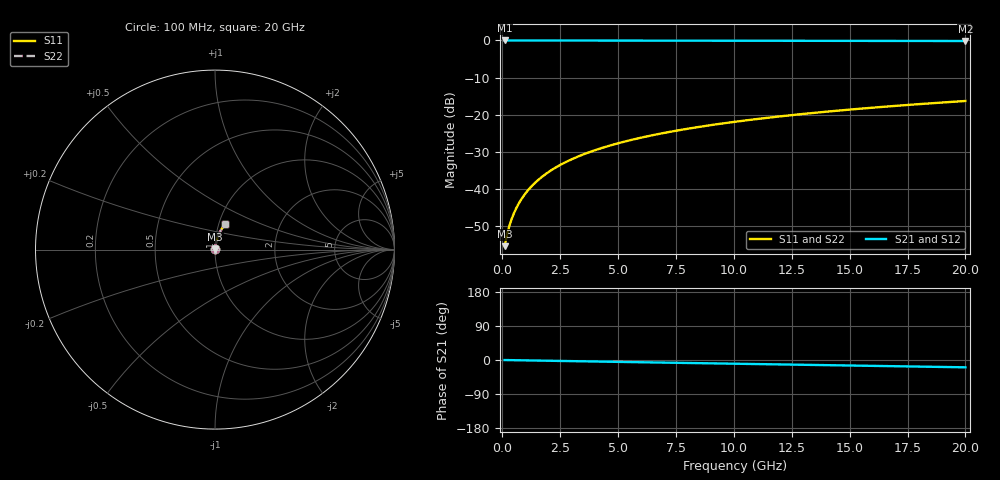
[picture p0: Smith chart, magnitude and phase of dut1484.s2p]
! Touchstone file exported from HFSS 2026.1.0
!  File:  C:/ffzhzh/LocalFiles/Ansys_Project_Files/temp_train_TMRDL_1484_1783167729_22436.aedt
!  Generated:  08:23:24 PM Jul  4, 2026
!  Design:  TMRDL
!  Project:  temp_train_TMRDL_1484_1783167729_22436
! Variables:
!  h_bsmrdl = 2um
!  h_ox = 20um
!  h_rdl = 5um
!  h_sub = 80um
!  h_tmrdl = 4.11um
!  h_tsv = 80um
!  h_via = 3um
!  l_bsmrdl = 300um
!  l_sub = 684.26um
!  l_tmrdl = 284.26um
!  m_sub = 200um
!  pitch = 36.43um
!  r_tsv = 6um
!  s_tmrdl = 10um
!  w_bsmrdl = 18um
!  w_sub = 500um
!  w_tmrdl = 20.4um
!  x_tsv_center1 = 294.46um
!  x_tsv_center2 = 612.46um
!  x_tsv_center3 = 917.12um
!  x_tsv_center4 = 1235.12um
!  x_tsv_center5 = 1539.78um
!  x_tsv_center6 = 1857.78um
# GHz S MA R 50.000000
! Terminal data exported
! Port[1] = TM_RDL1_1_T1
! Port[2] = TM_RDL1_1_T2
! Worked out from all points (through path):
!   200 points, 100 MHz to 20 GHz, reference 50 ohm
!   highest |S21| = -0.01 dB at 100 MHz (marker M1); lowest = -0.2 dB at 20 GHz (marker M2)
!   group delay of S21, straight-line fit = 2.68 ps
!   lowest |S11| = -55.5 dB at 100 MHz (marker M3), VSWR 1.00, Z = 50.1 + j0.0957 ohm
!   |S11| at or under -10 dB: start of sweep to end of sweep
!   |S22| runs from -55.5 to -16.3 dB; largest |S21 - S12| = 2.6e-15
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0.1  0.001684 34.5  0.9986 -0.1  0.9986 -0.1  0.001684 34.5
! Gamma 0 0 0 0
! Port Impedance 50 0 50 0
0.2  0.00237 51.4  0.9985 -0.2  0.9985 -0.2  0.002371 51.4
0.3  0.003124 59.9  0.9984 -0.3  0.9984 -0.3  0.003125 59.9
0.4  0.00389 65.1  0.9984 -0.4  0.9984 -0.4  0.003892 65.1
0.5  0.004666 68.7  0.9983 -0.5  0.9983 -0.5  0.004667 68.7
0.6  0.00545 71.3  0.9983 -0.6  0.9983 -0.6  0.005452 71.3
0.8  0.007043 74.9  0.9982 -0.8  0.9982 -0.8  0.007044 74.9
1.1  0.009471 77.9  0.9981 -1.1  0.9981 -1.1  0.009471 77.9
1.3  0.0111 79.1  0.9981 -1.3  0.9981 -1.3  0.0111 79.1
1.6  0.01356 80.3  0.998 -1.6  0.998 -1.6  0.01356 80.3
2.1  0.01766 81.3  0.9978 -2.1  0.9978 -2.1  0.01766 81.3
2.7  0.02257 81.7  0.9975 -2.7  0.9975 -2.7  0.02257 81.6
3.5  0.02906 81.6  0.9971 -3.5  0.9971 -3.5  0.02906 81.6
4.2  0.03469 81.3  0.9967 -4.2  0.9967 -4.2  0.03469 81.3
5  0.04106 80.8  0.9961 -5.0  0.9961 -5.0  0.04106 80.8
5.9  0.04815 80.1  0.9955 -5.8  0.9955 -5.8  0.04815 80.1
6.8  0.05517 79.4  0.9948 -6.7  0.9948 -6.7  0.05517 79.4
8.3  0.06674 78.2  0.9936 -8.2  0.9936 -8.2  0.06674 78.2
10.1  0.08042 76.8  0.9921 -9.9  0.9921 -9.9  0.08043 76.7
13.4  0.1051 74.0  0.989 -13.1  0.989 -13.1  0.1051 73.9
16.7  0.1291 71.1  0.9855 -16.2  0.9855 -16.2  0.1291 71.0
20  0.1526 68.2  0.9816 -19.3  0.9816 -19.3  0.1526 68.1
